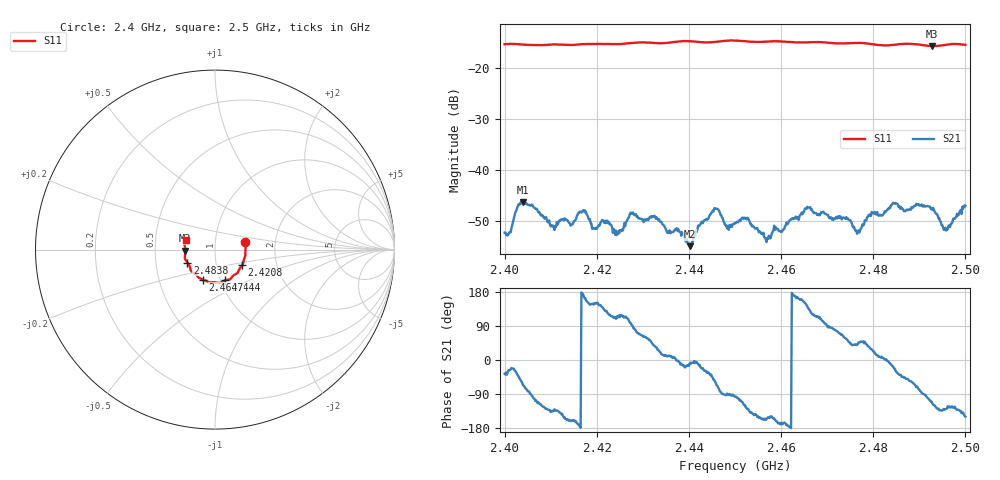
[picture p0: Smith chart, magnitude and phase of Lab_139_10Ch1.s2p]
# Hz S RI R 50
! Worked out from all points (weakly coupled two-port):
!   601 points, 2.4 GHz to 2.5 GHz, reference 50 ohm
!   highest |S21| = -46.21 dB at 2.404 GHz (marker M1); lowest = -54.9 dB at 2.4402 GHz (marker M2)
!   lowest |S11| = -15.6 dB at 2.4928 GHz (marker M3), VSWR 1.40, Z = 35.8 - j0.377 ohm
!   |S11| at or under -10 dB: start of sweep to end of sweep
!   S12 and S22 are empty: the file has one direction only
!   S11 on the Smith chart (normalised r, x): 2.4 GHz: 1.40, +0.12; 2.4208 GHz: 1.33, -0.24; 2.444 GHz: 1.06, -0.37; 2.4647 GHz: 0.83, -0.29; 2.4838 GHz: 0.73, -0.11; 2.5 GHz: 0.72, +0.08
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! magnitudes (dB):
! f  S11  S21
! 2.4 GHz  -15.2  -52.2
! 2.404 GHz  -15.3  -46.2
! 2.4105 GHz  -15.3  -50.8
! 2.4167 GHz  -15.2  -48.3
! 2.4208 GHz  -15.2  -50.2
! 2.4243 GHz  -15.2  -52.7
! 2.4277 GHz  -15.0  -48.6
! 2.4333 GHz  -15.1  -49.8
! 2.4402 GHz  -14.6  -54.9
! 2.444 GHz  -14.9  -49.7
! 2.446 GHz  -14.8  -47.5
! 2.45 GHz  -14.5  -50.3
! 2.4525 GHz  -14.7  -49.6
! 2.4572 GHz  -14.7  -53.5
! 2.4647 GHz  -14.9  -48.6
! 2.4667 GHz  -14.8  -47.6
! 2.4767 GHz  -15.0  -51.9
! 2.4833 GHz  -15.5  -47.6
! 2.4838 GHz  -15.4  -46.9
! 2.4928 GHz  -15.6  -47.8
! 2.4957 GHz  -15.4  -51.3
! 2.5 GHz  -15.4  -47.0
